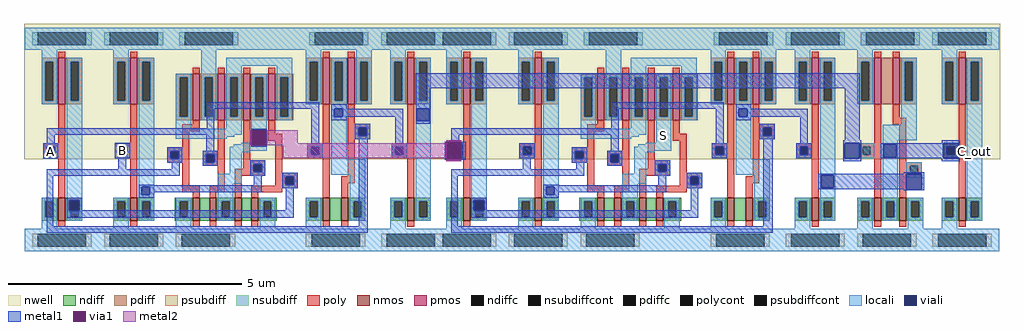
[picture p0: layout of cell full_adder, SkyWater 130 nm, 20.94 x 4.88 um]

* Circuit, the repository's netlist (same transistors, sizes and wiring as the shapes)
* NGSPICE file created from full_adder.ext - technology: sky130A

.subckt nor2 VDD GND Y A B
X0 Y A GND GND sky130_fd_pr__nfet_01v8 ad=1.95e+11p pd=1.78e+06u as=3.6e+11p ps=3.44e+06u w=500000u l=150000u
X1 GND B Y GND sky130_fd_pr__nfet_01v8 ad=0p pd=0u as=0p ps=0u w=500000u l=150000u
X2 Y B a_94_506# VDD sky130_fd_pr__pfet_01v8 ad=3.6e+11p pd=2.72e+06u as=2.5e+11p ps=2.5e+06u w=1e+06u l=150000u
X3 a_94_506# A VDD VDD sky130_fd_pr__pfet_01v8 ad=0p pd=0u as=3.6e+11p ps=2.72e+06u w=1e+06u l=150000u
.ends

.subckt xor2 VDD GND Y A B NOT_A NOT_B
X0 a_94_6# B GND GND sky130_fd_pr__nfet_01v8 ad=1.05e+11p pd=1.42e+06u as=3.9e+11p ps=3.56e+06u w=500000u l=150000u
X1 a_274_6# NOT_B Y GND sky130_fd_pr__nfet_01v8 ad=1.05e+11p pd=1.42e+06u as=1.95e+11p ps=1.78e+06u w=500000u l=150000u
X2 Y A a_94_6# GND sky130_fd_pr__nfet_01v8 ad=0p pd=0u as=0p ps=0u w=500000u l=150000u
X3 a_n8_438# A VDD VDD sky130_fd_pr__pfet_01v8 ad=1.14e+12p pd=8.28e+06u as=3.9e+11p ps=2.78e+06u w=1e+06u l=150000u
X4 Y NOT_B a_n8_438# VDD sky130_fd_pr__pfet_01v8 ad=3.9e+11p pd=2.78e+06u as=0p ps=0u w=1e+06u l=150000u
X5 GND NOT_A a_274_6# GND sky130_fd_pr__nfet_01v8 ad=0p pd=0u as=0p ps=0u w=500000u l=150000u
X6 a_n8_438# NOT_A Y VDD sky130_fd_pr__pfet_01v8 ad=0p pd=0u as=0p ps=0u w=1e+06u l=150000u
X7 VDD B a_n8_438# VDD sky130_fd_pr__pfet_01v8 ad=0p pd=0u as=0p ps=0u w=1e+06u l=150000u
.ends

.subckt inv VDD GND Y A
X0 Y A GND GND sky130_fd_pr__nfet_01v8 ad=1.8e+11p pd=1.72e+06u as=1.8e+11p ps=1.72e+06u w=500000u l=150000u
X1 Y A VDD VDD sky130_fd_pr__pfet_01v8 ad=3.6e+11p pd=2.72e+06u as=3.6e+11p ps=2.72e+06u w=1e+06u l=150000u
.ends

.subckt nand2 VDD GND Y A B
X0 a_94_6# A GND GND sky130_fd_pr__nfet_01v8 ad=1.25e+11p pd=1.5e+06u as=1.8e+11p ps=1.72e+06u w=500000u l=150000u
X1 VDD B Y VDD sky130_fd_pr__pfet_01v8 ad=7.2e+11p pd=5.44e+06u as=3.9e+11p ps=2.78e+06u w=1e+06u l=150000u
X2 Y A VDD VDD sky130_fd_pr__pfet_01v8 ad=0p pd=0u as=0p ps=0u w=1e+06u l=150000u
X3 Y B a_94_6# GND sky130_fd_pr__nfet_01v8 ad=1.8e+11p pd=1.72e+06u as=0p ps=0u w=500000u l=150000u
.ends

.subckt half_adder S A B C_out GND VDD
Xxor2_0 VDD GND S A B inv_2/Y inv_1/Y xor2
Xinv_0 VDD GND C_out inv_0/A inv
Xinv_1 VDD GND inv_1/Y B inv
Xinv_2 VDD GND inv_2/Y A inv
Xnand2_0 VDD GND inv_0/A A B nand2
.ends

*.subckt full_adder S A B C_out
Xnor2_0 inv_0/VDD inv_0/GND inv_0/A nor2_0/A nor2_0/B nor2
Xhalf_adder_0 half_adder_1/A A B nor2_0/A inv_0/GND inv_0/VDD half_adder
Xhalf_adder_1 S half_adder_1/A half_adder_1/B nor2_0/B inv_0/GND inv_0/VDD half_adder
Xinv_0 inv_0/VDD inv_0/GND C_out inv_0/A inv
*.ends

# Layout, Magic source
magic
tech sky130A
magscale 1 2
<< poly >>
rect 3756 104 3786 106
<< locali >>
rect 4 864 4184 960
rect 1680 612 1746 630
rect 976 514 1042 562
rect 82 396 148 464
rect 390 398 456 466
rect 976 461 982 514
rect 1035 461 1042 514
rect 976 432 1042 461
rect 1680 560 1686 612
rect 1738 560 1746 612
rect 1680 230 1746 560
rect 2126 398 2192 464
rect 2712 432 2778 562
rect 3416 327 3482 630
rect 3587 398 3648 464
rect 3684 458 3750 542
rect 3684 404 3689 458
rect 3743 404 3750 458
rect 3416 273 3421 327
rect 3475 273 3482 327
rect 3416 230 3482 273
rect 3684 230 3750 404
rect 3786 333 3852 382
rect 4046 230 4112 630
rect 4 0 4184 96
<< viali >>
rect 982 461 1035 514
rect 1686 560 1738 612
rect 1818 398 1884 464
rect 3521 398 3587 464
rect 3689 404 3743 458
rect 3421 273 3475 327
rect 3944 398 4010 464
rect 3786 267 3852 333
<< metal1 >>
rect 1680 700 3586 764
rect 1680 612 1744 700
rect 1680 560 1686 612
rect 1738 560 1744 612
rect 1680 548 1744 560
rect 976 520 1041 526
rect 3522 476 3586 700
rect 976 449 1041 455
rect 1806 392 1812 470
rect 1877 464 1896 470
rect 1884 398 1896 464
rect 1877 392 1896 398
rect 3515 464 3593 476
rect 3938 464 4016 476
rect 3515 398 3521 464
rect 3587 398 3593 464
rect 3677 458 3944 464
rect 3677 404 3689 458
rect 3743 404 3944 458
rect 3677 398 3944 404
rect 4010 398 4016 464
rect 3515 386 3593 398
rect 3938 386 4016 398
rect 3774 333 3864 339
rect 3409 327 3786 333
rect 3409 273 3421 327
rect 3475 273 3786 327
rect 3409 267 3786 273
rect 3852 267 3864 333
rect 3774 261 3864 267
<< via1 >>
rect 976 514 1041 520
rect 976 461 982 514
rect 982 461 1035 514
rect 1035 461 1041 514
rect 976 455 1041 461
rect 1812 464 1877 470
rect 1812 398 1818 464
rect 1818 398 1877 464
rect 1812 392 1877 398
<< metal2 >>
rect 970 455 976 520
rect 1041 464 1175 520
rect 1812 470 1877 476
rect 1041 455 1812 464
rect 1110 399 1812 455
rect 1812 386 1877 392
use half_adder  half_adder_0
transform 1 0 576 0 1 0
box -576 0 1246 976
use half_adder  half_adder_1
transform 1 0 2312 0 1 0
box -576 0 1246 976
use inv  inv_0
transform 1 0 3946 0 1 124
box -84 -124 242 852
use nor2  nor2_0
transform 1 0 3584 0 1 124
box -84 -124 350 852
<< labels >>
flabel locali 82 396 148 464 0 FreeSerif 240 0 0 0 A
port 1 nsew
flabel locali 390 398 456 466 0 FreeSerif 240 0 0 0 B
port 2 nsew
flabel locali s 4046 230 4112 630 0 FreeSerif 240 0 0 0 C_out
port 3 nsew
flabel locali s 2712 432 2778 562 0 FreeSerif 240 0 0 0 S
port 0 nsew
<< end >>

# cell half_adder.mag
magic
tech sky130A
<< poly >>
rect 422 265 455 273
rect 422 248 430 265
rect 447 248 455 265
rect 422 240 455 248
rect -247 224 -214 232
rect -247 207 -239 224
rect -222 207 -214 224
rect -247 199 -214 207
rect -93 224 -60 232
rect -93 207 -85 224
rect -68 207 -60 224
rect 320 224 353 232
rect -93 199 -60 207
rect 19 215 52 223
rect 19 198 27 215
rect 44 198 52 215
rect 19 190 52 198
rect 95 208 128 216
rect 95 191 103 208
rect 120 191 128 208
rect 320 207 328 224
rect 345 207 353 224
rect 320 199 353 207
rect 501 224 534 232
rect 501 207 509 224
rect 526 207 534 224
rect 501 199 534 207
rect 95 183 128 191
rect 197 187 230 195
rect 197 170 205 187
rect 222 170 230 187
rect 197 162 230 170
rect 266 160 299 168
rect 266 143 274 160
rect 291 143 299 160
rect 266 135 299 143
<< polycont >>
rect 430 248 447 265
rect -239 207 -222 224
rect -85 207 -68 224
rect 27 198 44 215
rect 103 191 120 208
rect 328 207 345 224
rect 509 207 526 224
rect 205 170 222 187
rect 274 143 291 160
<< locali >>
rect -286 432 621 480
rect -247 224 -214 232
rect -247 207 -239 224
rect -222 207 -214 224
rect -247 199 -214 207
rect -196 109 -163 315
rect -93 224 -60 232
rect -93 207 -85 224
rect -68 207 -60 224
rect -93 199 -60 207
rect -42 138 -9 315
rect 371 306 404 315
rect 371 289 378 306
rect 396 289 404 306
rect 19 215 52 223
rect 200 216 233 281
rect 320 224 353 232
rect 19 198 27 215
rect 44 198 52 215
rect 19 190 52 198
rect 95 208 128 216
rect 95 191 103 208
rect 120 191 128 208
rect 320 207 328 224
rect 345 207 353 224
rect 320 199 353 207
rect 95 183 128 191
rect 197 187 230 195
rect 197 170 205 187
rect 222 170 230 187
rect 197 162 230 170
rect -42 121 -35 138
rect -18 121 -9 138
rect 266 160 299 168
rect 371 164 404 289
rect 422 265 455 273
rect 422 248 430 265
rect 447 248 455 265
rect 422 240 455 248
rect 501 224 534 232
rect 501 207 509 224
rect 526 207 534 224
rect 501 199 534 207
rect 266 143 274 160
rect 291 143 299 160
rect 266 135 299 143
rect -42 115 -9 121
rect 552 115 585 315
rect -196 87 -191 109
rect -169 87 -163 109
rect -196 82 -163 87
rect -286 0 621 48
<< viali >>
rect -239 207 -222 224
rect -85 207 -68 224
rect 378 289 396 306
rect 27 198 44 215
rect 103 191 120 208
rect 328 207 345 224
rect 205 170 222 187
rect -35 121 -18 138
rect 430 248 447 265
rect 509 207 526 224
rect 274 143 291 160
rect -191 87 -169 109
<< metal1 >>
rect 104 306 345 320
rect 104 264 120 306
rect -239 250 120 264
rect -239 232 -222 250
rect -247 224 -214 232
rect -247 207 -239 224
rect -222 207 -214 224
rect -247 199 -214 207
rect -93 224 -60 232
rect -93 207 -85 224
rect -68 207 -60 224
rect -93 199 -60 207
rect 19 215 52 223
rect 103 216 120 250
rect 328 232 345 306
rect 371 306 404 315
rect 371 289 378 306
rect 396 289 526 306
rect 371 281 404 289
rect 422 265 455 273
rect 422 248 430 265
rect 447 248 455 265
rect 422 240 455 248
rect 320 224 353 232
rect -86 176 -69 199
rect 19 198 27 215
rect 44 198 52 215
rect 19 190 52 198
rect 95 208 128 216
rect 95 191 103 208
rect 120 191 128 208
rect 320 207 328 224
rect 345 207 353 224
rect 320 199 353 207
rect 29 176 46 190
rect 95 183 128 191
rect 197 187 230 195
rect -239 162 46 176
rect 197 170 205 187
rect 222 170 230 187
rect 197 162 230 170
rect -239 54 -225 162
rect -42 142 -9 143
rect 205 142 222 162
rect -42 138 222 142
rect -42 121 -35 138
rect -18 127 222 138
rect 266 160 299 168
rect 266 143 274 160
rect 291 143 299 160
rect 266 135 299 143
rect -18 121 -9 127
rect -42 115 -9 121
rect -196 109 -163 115
rect -196 87 -191 109
rect -169 88 -163 109
rect 274 88 291 135
rect -169 87 291 88
rect -196 72 291 87
rect 430 54 450 240
rect 509 232 526 289
rect 501 224 534 232
rect 501 207 509 224
rect 526 207 534 224
rect 501 199 534 207
rect -239 40 450 54
use inv  inv_0
transform 1 0 502 0 1 62
box -42 -62 121 426
use inv  inv_1
transform 1 0 -92 0 1 62
box -42 -62 121 426
use inv  inv_2
transform 1 0 -246 0 1 62
box -42 -62 121 426
use nand2  nand2_0
transform 1 0 321 0 1 62
box -42 -62 175 426
use xor2  xor2_0
transform 1 0 42 0 1 62
box -42 -62 283 426
<< labels >>
flabel locali s -93 199 -60 232 0 FreeSerif 80 0 0 0 B
port 2 nsew
flabel locali s -247 199 -214 232 0 FreeSerif 80 0 0 0 A
port 1 nsew
flabel locali s 200 216 233 281 0 FreeSerif 80 0 0 0 S
port 0 nsew
flabel locali s 552 115 585 315 0 FreeSerif 80 0 0 0 C_out
port 6 nsew
flabel locali -286 432 621 480 0 FreeSerif 80 0 0 0 VDD!
flabel locali s -286 0 621 48 0 FreeSerif 80 0 0 0 GND!
<< end >>

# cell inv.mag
magic
tech sky130A
<< nwell >>
rect -42 135 121 426
<< nmos >>
rect 32 3 47 53
<< pmos >>
rect 32 253 47 353
<< ndiff >>
rect -4 45 32 53
rect -4 11 4 45
rect 21 11 32 45
rect -4 3 32 11
rect 47 45 83 53
rect 47 11 58 45
rect 75 11 83 45
rect 47 3 83 11
<< pdiff >>
rect -4 345 32 353
rect -4 261 4 345
rect 21 261 32 345
rect -4 253 32 261
rect 47 345 83 353
rect 47 261 58 345
rect 75 261 83 345
rect 47 253 83 261
<< ndiffc >>
rect 4 11 21 45
rect 58 11 75 45
<< pdiffc >>
rect 4 261 21 345
rect 58 261 75 345
<< psubdiff >>
rect -24 -52 -12 -24
rect 91 -52 103 -24
<< nsubdiff >>
rect -24 380 -12 408
rect 91 380 103 408
<< psubdiffcont >>
rect -12 -52 91 -24
<< nsubdiffcont >>
rect -12 380 91 408
<< poly >>
rect 32 353 47 366
rect 32 170 47 253
rect -1 162 47 170
rect -1 145 7 162
rect 24 145 47 162
rect -1 137 47 145
rect 32 53 47 137
rect 32 -10 47 3
<< polycont >>
rect 7 145 24 162
<< locali >>
rect -40 408 119 418
rect -40 380 -12 408
rect 91 380 119 408
rect -40 370 119 380
rect -4 345 29 370
rect -4 261 4 345
rect 21 261 29 345
rect -4 253 29 261
rect 50 345 83 353
rect 50 261 58 345
rect 75 261 83 345
rect -1 162 32 170
rect -1 145 7 162
rect 24 145 32 162
rect -1 137 32 145
rect -4 45 29 53
rect -4 11 4 45
rect 21 11 29 45
rect -4 -14 29 11
rect 50 45 83 261
rect 50 11 58 45
rect 75 11 83 45
rect 50 3 83 11
rect -40 -24 119 -14
rect -40 -52 -12 -24
rect 91 -52 119 -24
rect -40 -62 119 -52
<< labels >>
flabel locali -40 -62 119 -14 1 FreeSerif 80 0 0 0 GND!
port 1 n
flabel locali 50 53 83 253 1 FreeSerif 80 0 0 0 Y
port 2 n
flabel locali -1 137 32 170 0 FreeSerif 80 0 0 0 A
port 3 nsew
flabel locali -40 370 119 418 0 FreeSerif 80 0 0 0 VDD!
port 0 nsew
<< end >>

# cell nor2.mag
magic
tech sky130A
<< nwell >>
rect -42 135 175 426
<< nmos >>
rect 32 3 47 53
rect 86 3 101 53
<< pmos >>
rect 32 253 47 353
rect 72 253 87 353
<< ndiff >>
rect -4 45 32 53
rect -4 11 4 45
rect 21 11 32 45
rect -4 3 32 11
rect 47 45 86 53
rect 47 11 58 45
rect 75 11 86 45
rect 47 3 86 11
rect 101 45 137 53
rect 101 11 112 45
rect 129 11 137 45
rect 101 3 137 11
<< pdiff >>
rect -4 345 32 353
rect -4 261 4 345
rect 21 261 32 345
rect -4 253 32 261
rect 47 253 72 353
rect 87 345 123 353
rect 87 261 98 345
rect 115 261 123 345
rect 87 253 123 261
<< ndiffc >>
rect 4 11 21 45
rect 58 11 75 45
rect 112 11 129 45
<< pdiffc >>
rect 4 261 21 345
rect 98 261 115 345
<< psubdiff >>
rect -4 -52 8 -24
rect 111 -52 123 -24
<< nsubdiff >>
rect 3 380 15 408
rect 118 380 130 408
<< psubdiffcont >>
rect 8 -52 111 -24
<< nsubdiffcont >>
rect 15 380 118 408
<< poly >>
rect 32 353 47 366
rect 72 353 87 366
rect 32 170 47 253
rect 72 224 87 253
rect 72 209 101 224
rect -1 162 47 170
rect -1 145 7 162
rect 24 145 47 162
rect -1 137 47 145
rect 32 53 47 137
rect 86 129 101 209
rect 86 121 134 129
rect 86 104 109 121
rect 126 104 134 121
rect 86 96 134 104
rect 86 53 101 96
rect 32 -10 47 3
rect 86 -9 101 3
<< polycont >>
rect 7 145 24 162
rect 109 104 126 121
<< locali >>
rect -40 408 173 418
rect -40 380 15 408
rect 118 380 173 408
rect -40 370 173 380
rect -4 345 29 370
rect -4 261 4 345
rect 21 261 29 345
rect -4 253 29 261
rect 90 345 123 353
rect 90 261 98 345
rect 115 261 123 345
rect 90 209 123 261
rect 50 176 123 209
rect -1 162 32 170
rect -1 145 7 162
rect 24 145 32 162
rect -1 137 32 145
rect -4 45 29 53
rect -4 11 4 45
rect 21 11 29 45
rect -4 -14 29 11
rect 50 45 83 176
rect 101 121 134 129
rect 101 104 109 121
rect 126 104 134 121
rect 101 96 134 104
rect 50 11 58 45
rect 75 11 83 45
rect 50 3 83 11
rect 104 45 137 53
rect 104 11 112 45
rect 129 11 137 45
rect 104 -14 137 11
rect -40 -24 173 -14
rect -40 -52 8 -24
rect 111 -52 173 -24
rect -40 -62 173 -52
<< labels >>
flabel locali 101 96 134 129 0 FreeSerif 80 0 0 0 B
port 8 nsew
flabel locali -1 137 32 170 0 FreeSerif 80 0 0 0 A
port 3 nsew
flabel locali 50 53 83 209 0 FreeSerif 80 0 0 0 Y
port 2 nsew
flabel locali -40 370 173 418 0 FreeSerif 80 0 0 0 VDD!
port 0 nsew
flabel locali -40 -62 173 -14 0 FreeSerif 80 0 0 0 GND!
port 1 nsew
<< end >>

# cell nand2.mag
magic
tech sky130A
<< nwell >>
rect -42 135 175 426
<< nmos >>
rect 32 3 47 53
rect 72 3 87 53
<< pmos >>
rect 32 253 47 353
rect 86 253 101 353
<< ndiff >>
rect -4 45 32 53
rect -4 11 4 45
rect 21 11 32 45
rect -4 3 32 11
rect 47 3 72 53
rect 87 45 123 53
rect 87 11 98 45
rect 115 11 123 45
rect 87 3 123 11
<< pdiff >>
rect -4 345 32 353
rect -4 261 4 345
rect 21 261 32 345
rect -4 253 32 261
rect 47 345 86 353
rect 47 261 58 345
rect 75 261 86 345
rect 47 253 86 261
rect 101 345 137 353
rect 101 261 112 345
rect 129 261 137 345
rect 101 253 137 261
<< ndiffc >>
rect 4 11 21 45
rect 98 11 115 45
<< pdiffc >>
rect 4 261 21 345
rect 58 261 75 345
rect 112 261 129 345
<< psubdiff >>
rect -4 -52 8 -24
rect 111 -52 123 -24
<< nsubdiff >>
rect 3 380 15 408
rect 118 380 130 408
<< psubdiffcont >>
rect 8 -52 111 -24
<< nsubdiffcont >>
rect 15 380 118 408
<< poly >>
rect 32 353 47 366
rect 86 353 101 366
rect 32 170 47 253
rect -1 162 47 170
rect -1 145 7 162
rect 24 145 47 162
rect -1 137 47 145
rect 32 53 47 137
rect 86 211 101 253
rect 86 203 134 211
rect 86 186 109 203
rect 126 186 134 203
rect 86 178 134 186
rect 86 99 101 178
rect 72 84 101 99
rect 72 53 87 84
rect 32 -10 47 3
rect 72 -10 87 3
<< polycont >>
rect 7 145 24 162
rect 109 186 126 203
<< locali >>
rect -40 408 173 418
rect -40 380 15 408
rect 118 380 173 408
rect -40 370 173 380
rect -4 345 29 370
rect -4 261 4 345
rect 21 261 29 345
rect -4 253 29 261
rect 50 345 83 353
rect 50 261 58 345
rect 75 261 83 345
rect -1 162 32 170
rect -1 145 7 162
rect 24 145 32 162
rect -1 137 32 145
rect 50 135 83 261
rect 104 345 137 370
rect 104 261 112 345
rect 129 261 137 345
rect 104 253 137 261
rect 101 203 134 211
rect 101 186 109 203
rect 126 186 134 203
rect 101 178 134 186
rect 50 102 123 135
rect -4 45 29 53
rect -4 11 4 45
rect 21 11 29 45
rect -4 -14 29 11
rect 90 45 123 102
rect 90 11 98 45
rect 115 11 123 45
rect 90 3 123 11
rect -40 -24 173 -14
rect -40 -52 8 -24
rect 111 -52 173 -24
rect -40 -62 173 -52
<< labels >>
flabel locali -1 137 32 170 0 FreeSerif 80 0 0 0 A
port 3 nsew
flabel locali 101 178 134 211 0 FreeSerif 80 0 0 0 B
port 8 nsew
flabel locali 50 102 83 253 0 FreeSerif 80 0 0 0 Y
port 2 nsew
flabel locali -40 370 173 418 0 FreeSerif 80 0 0 0 VDD!
port 0 nsew
flabel locali -40 -62 173 -14 0 FreeSerif 80 0 0 0 GND!
port 1 nsew
<< end >>

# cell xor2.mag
magic
tech sky130A
<< nwell >>
rect -42 135 283 426
<< nmos >>
rect 32 3 47 53
rect 68 3 83 53
rect 122 3 137 53
rect 158 3 173 53
<< pmos >>
rect 32 219 47 319
rect 86 219 101 319
rect 140 219 155 319
rect 194 219 209 319
<< ndiff >>
rect -7 45 32 53
rect -7 11 4 45
rect 21 11 32 45
rect -7 3 32 11
rect 47 3 68 53
rect 83 45 122 53
rect 83 11 94 45
rect 111 11 122 45
rect 83 3 122 11
rect 137 3 158 53
rect 173 45 212 53
rect 173 11 184 45
rect 201 11 212 45
rect 173 3 212 11
<< pdiff >>
rect -4 311 32 319
rect -4 227 4 311
rect 21 227 32 311
rect -4 219 32 227
rect 47 311 86 319
rect 47 227 58 311
rect 75 227 86 311
rect 47 219 86 227
rect 101 311 140 319
rect 101 227 112 311
rect 129 227 140 311
rect 101 219 140 227
rect 155 311 194 319
rect 155 227 166 311
rect 183 227 194 311
rect 155 219 194 227
rect 209 311 248 319
rect 209 227 220 311
rect 237 227 248 311
rect 209 219 248 227
<< ndiffc >>
rect 4 11 21 45
rect 94 11 111 45
rect 184 11 201 45
<< pdiffc >>
rect 4 227 21 311
rect 58 227 75 311
rect 112 227 129 311
rect 166 227 183 311
rect 220 227 237 311
<< psubdiff >>
rect -4 -52 8 -24
rect 111 -52 123 -24
<< nsubdiff >>
rect 3 380 15 408
rect 118 380 130 408
<< psubdiffcont >>
rect 8 -52 111 -24
<< nsubdiffcont >>
rect 15 380 118 408
<< poly >>
rect 32 319 47 332
rect 86 319 101 332
rect 140 319 155 332
rect 194 319 209 332
rect 32 210 47 219
rect 10 195 47 210
rect 10 161 25 195
rect -23 153 25 161
rect 86 154 101 219
rect -23 136 -15 153
rect 2 136 25 153
rect -23 128 25 136
rect 10 79 25 128
rect 53 146 101 154
rect 53 129 61 146
rect 78 129 101 146
rect 53 121 101 129
rect 86 79 101 121
rect 140 133 155 219
rect 194 190 209 219
rect 194 175 224 190
rect 140 125 188 133
rect 140 115 163 125
rect 10 64 47 79
rect 32 53 47 64
rect 68 64 101 79
rect 122 108 163 115
rect 180 108 188 125
rect 122 100 188 108
rect 209 106 224 175
rect 68 53 83 64
rect 122 53 137 100
rect 209 98 257 106
rect 209 81 232 98
rect 249 81 257 98
rect 209 79 257 81
rect 158 73 257 79
rect 158 64 224 73
rect 158 53 173 64
rect 32 -10 47 3
rect 68 -10 83 3
rect 122 -10 137 3
rect 158 -10 173 3
<< polycont >>
rect -15 136 2 153
rect 61 129 78 146
rect 163 108 180 125
rect 232 81 249 98
<< locali >>
rect -40 408 281 418
rect -40 380 15 408
rect 118 380 281 408
rect -40 370 281 380
rect -4 311 29 319
rect -4 227 4 311
rect 21 227 29 311
rect -4 201 29 227
rect 50 311 83 370
rect 50 227 58 311
rect 75 227 83 311
rect 50 219 83 227
rect 104 336 245 353
rect 104 311 137 336
rect 104 227 112 311
rect 129 227 137 311
rect 104 201 137 227
rect -4 188 137 201
rect 158 311 191 319
rect 158 227 166 311
rect 183 227 191 311
rect -4 184 121 188
rect -4 179 105 184
rect 158 171 191 227
rect 212 311 245 336
rect 212 227 220 311
rect 237 227 245 311
rect 212 219 245 227
rect 136 167 191 171
rect 120 162 191 167
rect -23 153 10 161
rect 111 154 191 162
rect -23 136 -15 153
rect 2 136 10 153
rect -23 128 10 136
rect 53 146 86 154
rect 53 129 61 146
rect 78 129 86 146
rect 53 121 86 129
rect 111 150 155 154
rect 111 104 137 150
rect 86 83 137 104
rect 155 125 188 133
rect 155 108 163 125
rect 180 108 188 125
rect 155 100 188 108
rect 224 98 257 106
rect -4 45 29 53
rect -4 11 4 45
rect 21 11 29 45
rect -4 -14 29 11
rect 86 45 119 83
rect 224 81 232 98
rect 249 81 257 98
rect 224 73 257 81
rect 86 11 94 45
rect 111 11 119 45
rect 86 3 119 11
rect 176 45 209 53
rect 176 11 184 45
rect 201 11 209 45
rect 176 -14 209 11
rect -40 -24 281 -14
rect -40 -52 8 -24
rect 111 -52 281 -24
rect -40 -62 281 -52
<< labels >>
flabel locali -40 370 281 418 0 FreeSerif 80 0 0 0 VDD!
port 0 nsew
flabel locali -40 -62 281 -14 0 FreeSerif 80 0 0 0 GND!
port 1 nsew
flabel locali 53 121 86 154 0 FreeSerif 80 0 0 0 A
port 11 nsew
flabel locali -23 128 10 161 0 FreeSerif 80 0 0 0 B
port 12 nsew
flabel locali 158 154 191 219 0 FreeSerif 80 0 0 0 Y
port 4 nsew
flabel locali 155 100 188 133 0 FreeSerif 80 0 0 0 NOT_B
port 14 nsew
flabel locali 224 73 257 106 0 FreeSerif 80 0 0 0 NOT_A
port 13 nsew
<< end >>
